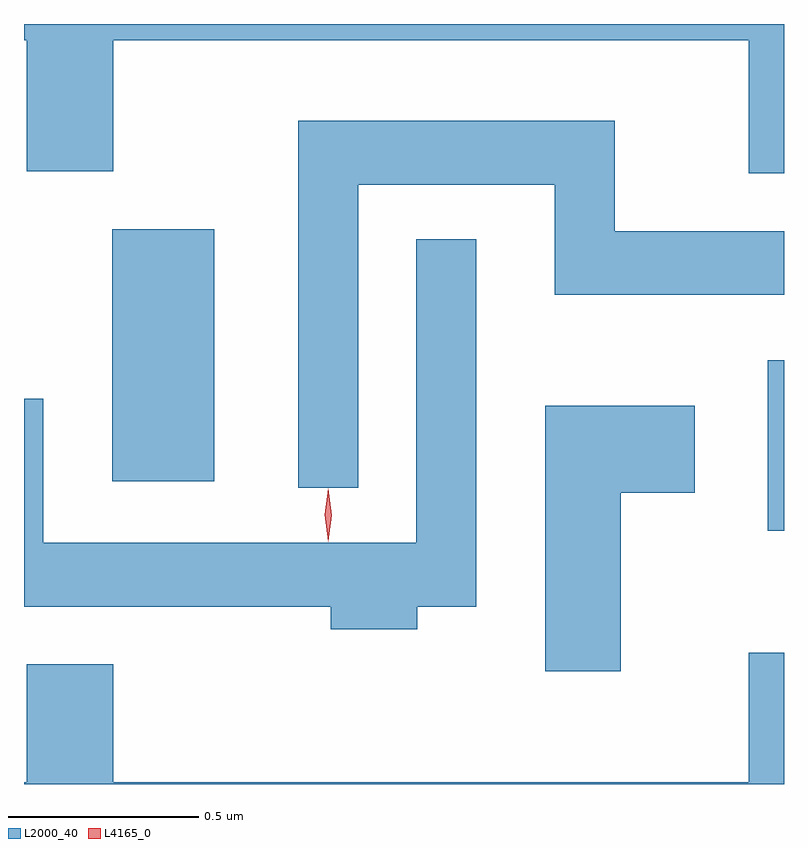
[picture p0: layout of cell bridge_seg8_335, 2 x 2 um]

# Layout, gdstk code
import gdstk
lib = gdstk.Library(unit=1e-6, precision=1e-09)
def R(c, l, rs):  # rectangles x0, y0, x1, y1
    for r in rs: c.add(gdstk.rectangle(r[:2], r[2:], *l))
def P(c, l, *ps):  # polygons
    for p in ps: c.add(gdstk.Polygon(p, *l))
L2000_40 = (2000, 40)
L4165_0 = (4165, 0)

bridge_seg8_335 = lib.new_cell('bridge_seg8_335')
R(bridge_seg8_335, L2000_40, [(938.121,1912.826,938.164,1913.274), (936.396,1912.956,936.664,1913.619)])
P(bridge_seg8_335, L2000_40, [(938.164,1914.159),(936.164,1914.159),(936.164,1914.116),(936.171,1914.116),(936.171,1913.771),(936.399,1913.771),(936.399,1914.116),(938.071,1914.116),(938.071,1913.766),(938.164,1913.766)],
  [(937.044,1913.736),(937.561,1913.736),(937.561,1913.446),(938.164,1913.446),(938.164,1913.614),(937.719,1913.614),(937.719,1913.904),(936.886,1913.904),(936.886,1912.938),(937.044,1912.938)],
  [(937.199,1912.626),(937.354,1912.626),(937.354,1913.593),(937.196,1913.593),(937.196,1912.794),(936.214,1912.794),(936.214,1913.173),(936.164,1913.173),(936.164,1912.626),(936.971,1912.626),(936.971,1912.566),(937.199,1912.566)],
  [(937.734,1912.926),(937.929,1912.926),(937.929,1913.154),(937.536,1913.154),(937.536,1912.456),(937.734,1912.456)],
  [(938.164,1912.504),(938.071,1912.504),(938.071,1912.164),(936.399,1912.164),(936.399,1912.474),(936.171,1912.474),(936.171,1912.164),(936.164,1912.164),(936.164,1912.159),(938.164,1912.159)])
P(bridge_seg8_335, L4165_0, [(936.964,1912.797),(936.964,1912.798),(936.955,1912.867),(936.964,1912.936),(936.965,1912.936),(936.965,1912.936),(936.974,1912.866),(936.965,1912.798)])

lib.write_gds('bridge_seg8_335.gds')
